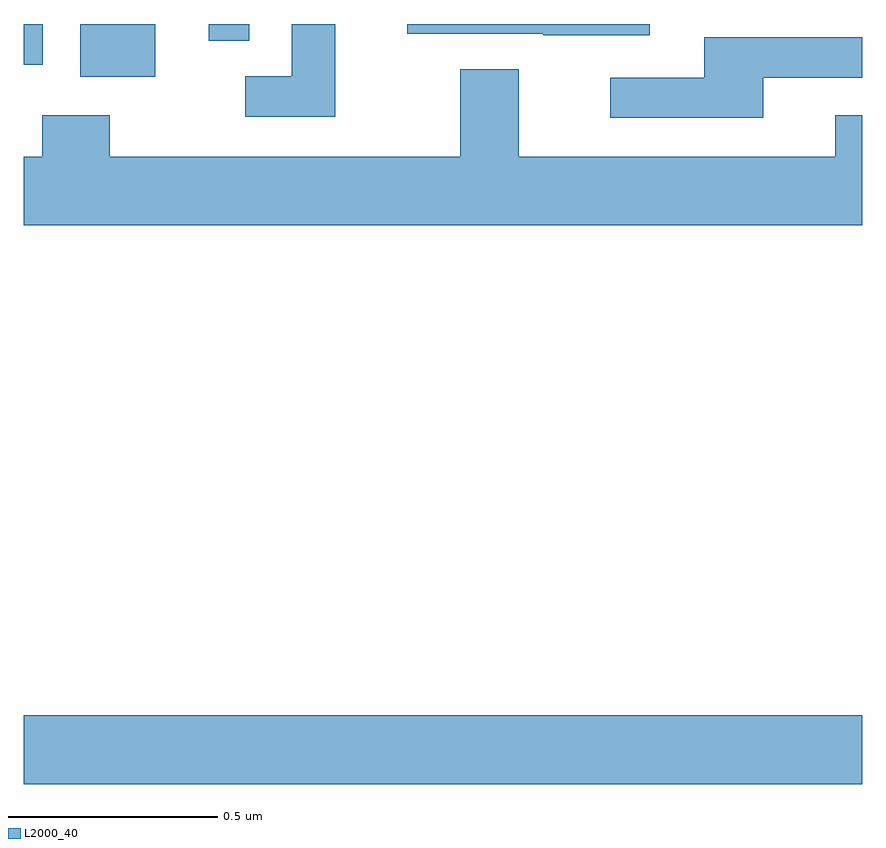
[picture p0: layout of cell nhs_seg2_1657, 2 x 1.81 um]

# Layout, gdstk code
import gdstk
lib = gdstk.Library(unit=1e-6, precision=1e-09)
def R(c, l, rs):  # rectangles x0, y0, x1, y1
    for r in rs: c.add(gdstk.rectangle(r[:2], r[2:], *l))
def P(c, l, *ps):  # polygons
    for p in ps: c.add(gdstk.Polygon(p, *l))
L2000_40 = (2000, 40)

nhs_seg2_1657 = lib.new_cell('nhs_seg2_1657')
R(nhs_seg2_1657, L2000_40, [(131,628.988,133,629.152), (131.135,630.674,131.314,630.8), (131,630.703,131.046,630.8), (131.442,630.76,131.538,630.8)])
P(nhs_seg2_1657, L2000_40, [(132.493,630.8),(131.915,630.8),(131.915,630.777),(132.239,630.777),(132.239,630.773),(132.493,630.773)],
  [(131.743,630.8),(131.639,630.8),(131.639,630.675),(131.529,630.675),(131.529,630.579),(131.743,630.579)],
  [(132.763,630.672),(133,630.672),(133,630.768),(132.623,630.768),(132.623,630.672),(132.399,630.672),(132.399,630.576),(132.763,630.576)],
  [(133,630.583),(132.935,630.583),(132.935,630.484),(132.181,630.484),(132.181,630.692),(132.041,630.692),(132.041,630.484),(131.205,630.484),(131.205,630.583),(131.045,630.583),(131.045,630.484),(131,630.484),(131,630.32),(133,630.32)])

lib.write_gds('nhs_seg2_1657.gds')
